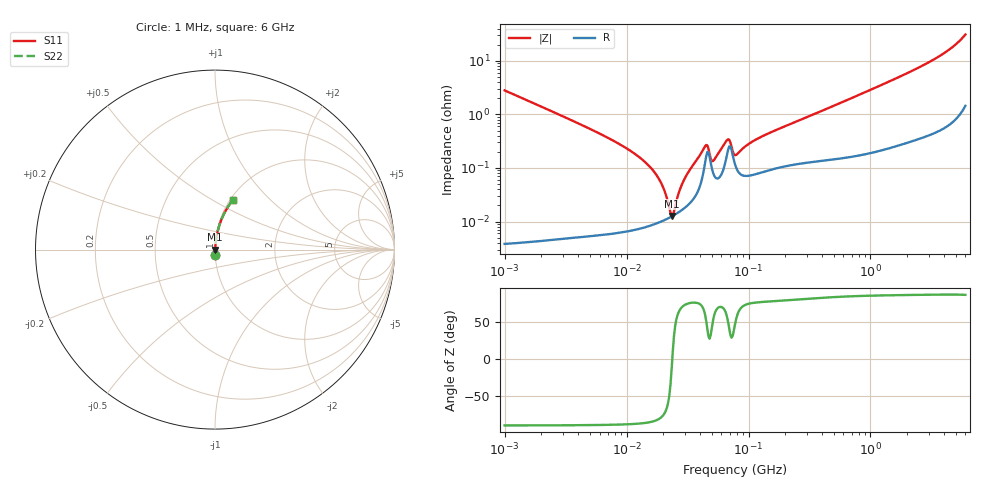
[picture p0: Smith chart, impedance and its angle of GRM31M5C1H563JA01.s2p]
!Murata Part Number: GRM31M5C1H563JA01
!These Parameters are Measured in Series Mode Connection
!Data Generated on Mar 30, 2021
!  o--ll--o
!Port1  Port2
!  o------o
!Operation Temp=25[degC], DC Bias Voltage=0[V]
!Freq. Start=1000[kHz] Stop=6[GHz] 401[Steps]
# Hz S RI R 50
!Freq.(Hz) S11(Real) S11(Imag) S21(Real) S21(Imag) S12(Real) S12(Imag) S22(Real) S22(Imag)
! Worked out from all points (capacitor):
!   401 points, 1 MHz to 6 GHz, reference 50 ohm
!   read as one part in series: C = 56.6 nF near 1.044 MHz
!   lowest |Z| = 12.8 mohm at 23.42 MHz (marker M1)
!   series resonance near 23.7 MHz, so ESL is about 800 pH
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1000000  0.000825 -0.028  0.9992 0.028  0.9992 0.028  0.000825 -0.028
4293785  9.15e-05 -0.00633  0.9999 0.00633  0.9999 0.00633  9.15e-05 -0.00633
1.142569e7  7.25e-05 -0.0019  0.9999 0.0019  0.9999 0.0019  7.25e-05 -0.0019
1.515906e7  8.29e-05 -0.00111  0.9999 0.00111  0.9999 0.00111  8.29e-05 -0.00111
1.843659e7  9.63e-05 -0.000615  0.9999 0.000615  0.9999 0.000615  9.63e-05 -0.000615
2.011232e7  0.000105 -0.000401  0.9999 0.000401  0.9999 0.000401  0.000105 -0.000401
2.242276e7  0.000118 -0.000136  0.9999 0.000136  0.9999 0.000136  0.000118 -0.000136
2.341962e7  0.000124 -2.92e-05  0.9999 2.92e-05  0.9999 2.92e-05  0.000124 -2.92e-05
2.44608e7  0.000131 7.84e-05  0.9999 -7.84e-05  0.9999 -7.84e-05  0.000131 7.84e-05
2.727078e7  0.000153 0.000355  0.9998 -0.000355  0.9998 -0.000355  0.000153 0.000355
2.974945e7  0.000178 0.000589  0.9998 -0.000589  0.9998 -0.000589  0.000178 0.000589
4.400437e7  0.00124 0.0022  0.9988 -0.0022  0.9988 -0.0022  0.00124 0.0022
4.596069e7  0.00199 0.00171  0.998 -0.00171  0.998 -0.00171  0.00199 0.00171
4.905945e7  0.00122 0.00081  0.9988 -0.00081  0.9988 -0.00081  0.00122 0.00081
5.124051e7  0.000806 0.00108  0.9992 -0.00108  0.9992 -0.00108  0.000806 0.00108
6.798347e7  0.00219 0.00264  0.9978 -0.00264  0.9978 -0.00264  0.00219 0.00264
7.745967e7  0.00117 0.00127  0.9988 -0.00127  0.9988 -0.00127  0.00117 0.00127
1.249896e8  0.000824 0.00365  0.9992 -0.00365  0.9992 -0.00365  0.000824 0.00365
3.325952e8  0.00138 0.00966  0.9986 -0.00966  0.9986 -0.00966  0.00138 0.00966
1.428092e9  0.00401 0.0409  0.996 -0.0409  0.996 -0.0409  0.00401 0.0409
3.5601e9  0.0181 0.1143  0.9819 -0.1143  0.9819 -0.1143  0.0181 0.1143
6e9  0.0986 0.2756  0.9014 -0.2756  0.9014 -0.2756  0.0986 0.2756
